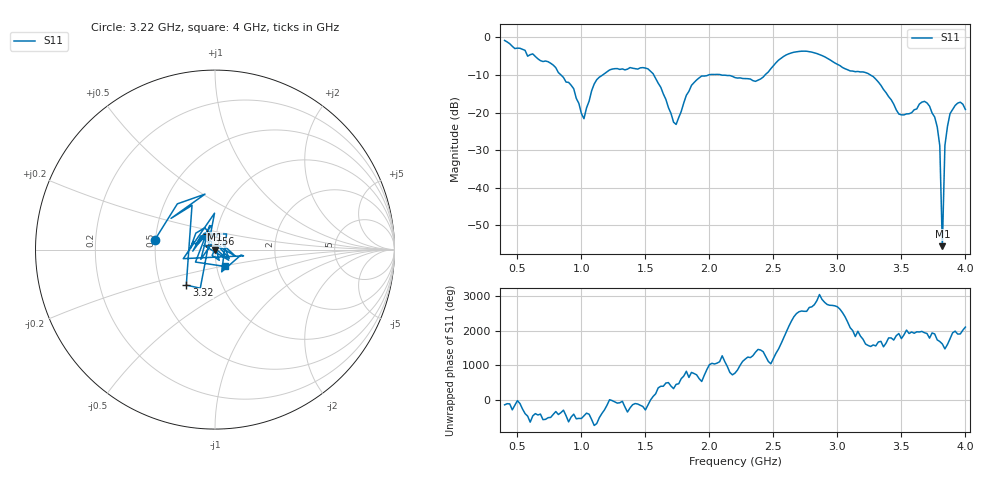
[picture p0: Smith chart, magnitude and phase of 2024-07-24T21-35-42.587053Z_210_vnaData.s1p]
!Created with skrf (http://scikit-rf.org).
# Hz S RI R 50.0
!freq ReS11 ImS11
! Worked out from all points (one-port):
!   181 points, 400 MHz to 4 GHz, reference 50 ohm
!   lowest |S11| = -55.6 dB at 3.82 GHz (marker M1), VSWR 1.00, Z = 49.8 + j0.0213 ohm
!   |S11| at or under -10 dB: 1.565 GHz to 1.994 GHz (428.2 MHz wide, 24.1 % of centre); 2.093 GHz to 2.435 GHz (341.7 MHz wide, 15.1 % of centre); 3.257 GHz to end of sweep (the widest 3 of 4)
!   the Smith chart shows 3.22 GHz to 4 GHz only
!   S11 on the Smith chart (normalised r, x): 3.22 GHz: 0.49, +0.06; 3.32 GHz: 0.68, -0.29; 3.56 GHz: 0.91, +0.16; 4 GHz: 1.10, -0.21
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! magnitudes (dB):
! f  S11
! 400 MHz  -0.8
! 860 MHz  -10.7
! 940 MHz  -13.7
! 1.02 GHz  -21.6
! 1.12 GHz  -11.3
! 1.3 GHz  -8.5
! 1.52 GHz  -8.4
! 1.62 GHz  -13.3
! 1.72 GHz  -22.6
! 1.76 GHz  -21.4
! 1.86 GHz  -12.8
! 1.94 GHz  -10.3
! 2.2 GHz  -10.7
! 2.36 GHz  -11.7
! 2.66 GHz  -3.9
! 3.1 GHz  -8.9
! 3.22 GHz  -9.4
! 3.32 GHz  -11.9
! 3.48 GHz  -20.4
! 3.56 GHz  -20.3
! 3.68 GHz  -17.0
! 3.78 GHz  -23.8
! 3.8 GHz  -28.8
! 3.82 GHz  -55.6
! 3.84 GHz  -28.8
! 3.86 GHz  -23.7
! 3.92 GHz  -18.1
! 4 GHz  -19.2
